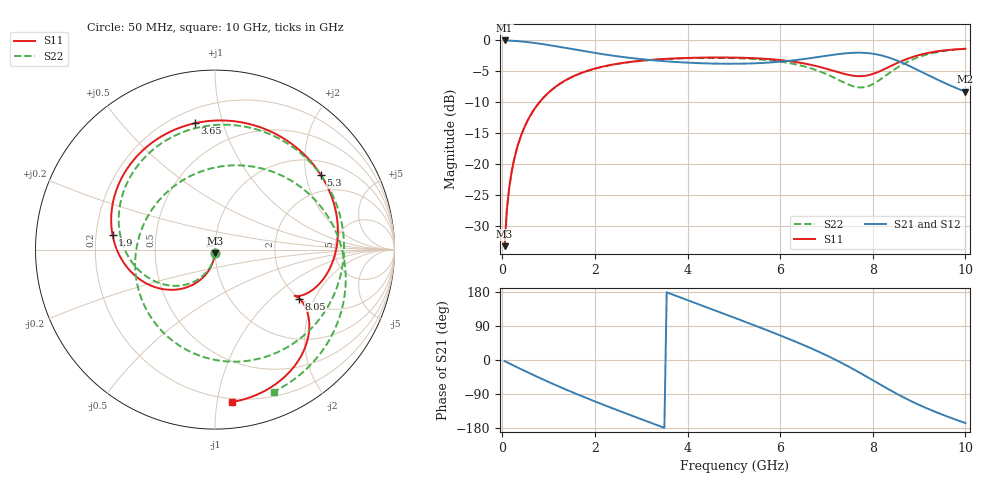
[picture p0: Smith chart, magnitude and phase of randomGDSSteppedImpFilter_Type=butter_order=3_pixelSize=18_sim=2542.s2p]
! freq	dB(S11)	phase(S11)	dB(S12)	phase(S12)
!  dB(S21)	phase(S21)	dB(S22)	phase(S22)
!S-par simulation data
#  GHz  S  DB  R 50
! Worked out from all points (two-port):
!   200 points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, 50 MHz to 10 GHz, reference 50 ohm
!   highest |S21| = -0.01 dB at 50 MHz (marker M1); lowest = -8.3 dB at 10 GHz (marker M2)
!   |S21| within 3 dB of the highest: start of sweep to 2.968 GHz; 6.526 GHz to 8.433 GHz (1.907 GHz wide, 25.5 % of centre)
!   lowest |S11| = -33.3 dB at 50 MHz (marker M3), VSWR 1.04, Z = 49.8 - j2.14 ohm
!   |S11| at or under -10 dB: start of sweep to 804.9 MHz
!   |S22| runs from -33.3 to -1.3 dB; largest |S21 - S12| = 0
!   S11 on the Smith chart (normalised r, x): 50 MHz: 1.00, -0.04; 1.9 GHz: 0.27, +0.07; 3.65 GHz: 0.28, +0.81; 5.3 GHz: 1.42, +2.45; 8.05 GHz: 1.98, -1.53; 10 GHz: 0.17, -1.10
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0.05  -33.35 -92.8  -0.01 -3.0  -0.01 -3.0  -33.35 -93.2
0.1  -27.34 -95.9  -0.02 -6.1  -0.02 -6.1  -27.35 -96.5
0.2  -21.38 -101.7  -0.05 -12.0  -0.05 -12.0  -21.38 -103.1
0.5  -13.71 -118.6  -0.23 -29.7  -0.23 -29.7  -13.72 -122.0
1.1  -7.81 -150.2  -0.87 -63.4  -0.87 -63.4  -7.82 -157.8
1.75  -5.15 178.6  -1.72 -97.0  -1.72 -97.0  -5.17 166.0
1.9  -4.78 171.8  -1.91 -104.4  -1.91 -104.4  -4.79 158.0
2.75  -3.49 135.4  -2.82 -144.7  -2.82 -144.7  -3.52 113.9
3.4  -3.05 109.1  -3.31 -174.6  -3.31 -174.6  -3.08 80.8
3.65  -2.94 99.1  -3.45 174.0  -3.45 174.0  -2.97 68.1
4.4  -2.77 69.6  -3.72 139.7  -3.72 139.7  -2.83 29.7
5.05  -2.79 44.5  -3.78 109.8  -3.78 109.8  -2.89 -4.0
5.3  -2.84 35.0  -3.75 98.2  -3.75 98.2  -2.96 -17.2
6.1  -3.26 5.6  -3.38 60.0  -3.38 60.0  -3.55 -62.1
6.7  -4.02 -14.2  -2.82 29.2  -2.82 29.2  -4.61 -102.3
7.45  -5.54 -29.4  -2.07 -15.5  -2.07 -15.5  -7.07 -176.7
7.75  -5.79 -30.1  -1.99 -35.8  -1.99 -35.8  -7.63 139.7
8.05  -5.31 -30.1  -2.21 -56.9  -2.21 -56.9  -6.89 93.2
8.35  -4.30 -33.3  -2.79 -77.9  -2.79 -77.9  -5.33 52.9
8.7  -3.12 -41.5  -3.83 -100.8  -3.83 -100.8  -3.66 16.2
9.05  -2.27 -52.4  -5.08 -121.2  -5.08 -121.2  -2.55 -12.4
10  -1.36 -83.8  -8.31 -166.3  -8.31 -166.3  -1.34 -67.5
